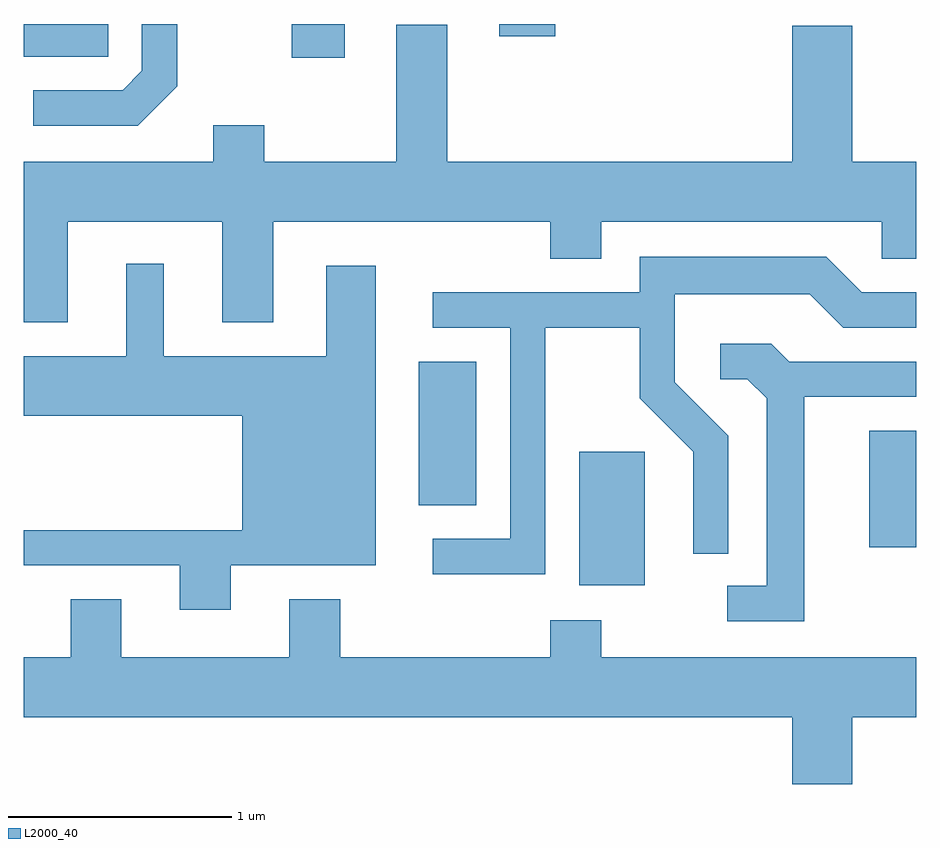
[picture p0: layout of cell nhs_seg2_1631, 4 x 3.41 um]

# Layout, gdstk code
import gdstk
lib = gdstk.Library(unit=1e-6, precision=1e-09)
def R(c, l, rs):  # rectangles x0, y0, x1, y1
    for r in rs: c.add(gdstk.rectangle(r[:2], r[2:], *l))
def P(c, l, *ps):  # polygons
    for p in ps: c.add(gdstk.Polygon(p, *l))
L2000_40 = (2000, 40)

nhs_seg2_1631 = lib.new_cell('nhs_seg2_1631')
R(nhs_seg2_1631, L2000_40, [(234.101,1113.286,234.394,1113.884), (235.401,1113.456,235.611,1113.979), (233.381,1113.646,233.639,1114.289), (232.813,1115.651,233.049,1115.802), (231.611,1115.656,231.989,1115.802), (233.741,1115.746,233.994,1115.802)])
P(nhs_seg2_1631, L2000_40, [(232.299,1115.524),(232.299,1115.802),(232.141,1115.802),(232.141,1115.592),(232.054,1115.504),(231.653,1115.504),(231.653,1115.346),(232.122,1115.346)],
  [(231.809,1114.916),(232.501,1114.916),(232.501,1114.466),(232.729,1114.466),(232.729,1114.916),(233.971,1114.916),(233.971,1114.751),(234.199,1114.751),(234.199,1114.916),(235.456,1114.916),(235.456,1114.751),(235.611,1114.751),(235.611,1115.184),(235.324,1115.184),(235.324,1115.794),(235.056,1115.794),(235.056,1115.184),(233.509,1115.184),(233.509,1115.799),(233.281,1115.799),(233.281,1115.184),(232.689,1115.184),(232.689,1115.349),(232.461,1115.349),(232.461,1115.184),(231.611,1115.184),(231.611,1114.466),(231.809,1114.466)],
  [(233.949,1114.441),(234.371,1114.441),(234.371,1114.124),(234.611,1113.884),(234.611,1113.428),(234.769,1113.428),(234.769,1113.957),(234.529,1114.197),(234.529,1114.591),(235.134,1114.591),(235.284,1114.441),(235.611,1114.441),(235.611,1114.599),(235.367,1114.599),(235.207,1114.759),(234.371,1114.759),(234.371,1114.599),(233.443,1114.599),(233.443,1114.441),(233.791,1114.441),(233.791,1113.494),(233.443,1113.494),(233.443,1113.336),(233.949,1113.336)],
  [(232.539,1113.376),(233.189,1113.376),(233.189,1114.719),(232.966,1114.719),(232.966,1114.314),(232.239,1114.314),(232.239,1114.728),(232.071,1114.728),(232.071,1114.314),(231.611,1114.314),(231.611,1114.046),(232.591,1114.046),(232.591,1113.534),(231.611,1113.534),(231.611,1113.376),(232.311,1113.376),(232.311,1113.176),(232.539,1113.176)],
  [(235.109,1114.131),(235.611,1114.131),(235.611,1114.289),(235.042,1114.289),(234.962,1114.369),(234.733,1114.369),(234.733,1114.211),(234.854,1114.211),(234.941,1114.124),(234.941,1113.284),(234.763,1113.284),(234.763,1113.126),(235.109,1113.126)],
  [(235.324,1112.696),(235.611,1112.696),(235.611,1112.964),(234.199,1112.964),(234.199,1113.129),(233.971,1113.129),(233.971,1112.964),(233.029,1112.964),(233.029,1113.224),(232.801,1113.224),(232.801,1112.964),(232.049,1112.964),(232.049,1113.224),(231.821,1113.224),(231.821,1112.964),(231.611,1112.964),(231.611,1112.696),(235.056,1112.696),(235.056,1112.396),(235.324,1112.396)])

lib.write_gds('nhs_seg2_1631.gds')
